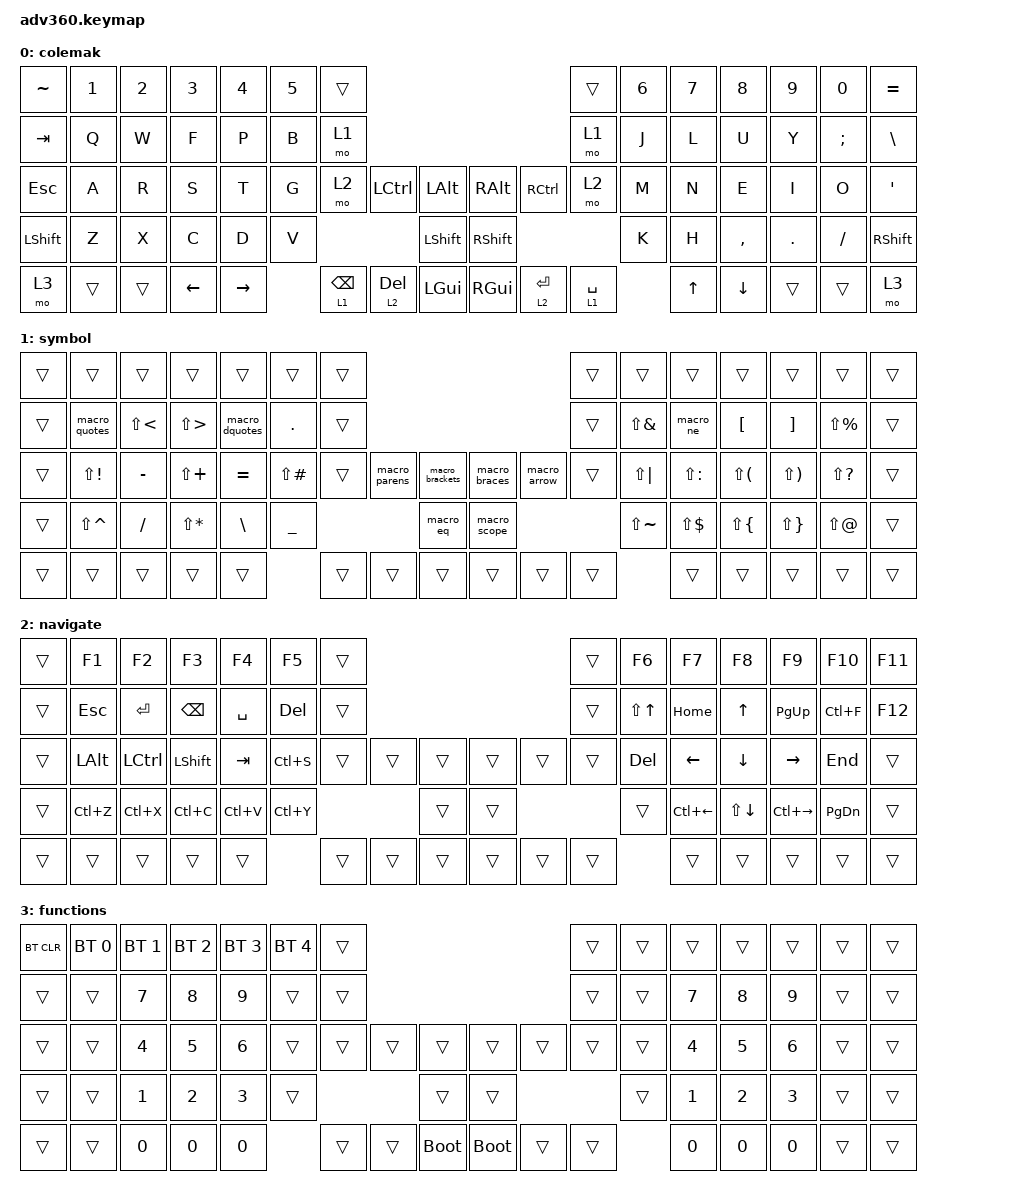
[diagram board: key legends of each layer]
#include <behaviors.dtsi>
#include <dt-bindings/zmk/bt.h>
#include <dt-bindings/zmk/keys.h>

&lt { require-prior-idle-ms = <200>; quick-tap-ms = <175>; };

/ {
    behaviors {
        #include "macros.dtsi"
      #include "version.dtsi"
      #ifndef VERSION_MACRO


        #endif

        hml: homerow_mods_left {
            compatible = "zmk,behavior-hold-tap";
            label = "HOMEROW_MODS";
            #binding-cells = <2>;
            tapping-term-ms = <300>;
            quick_tap_ms = <175>;
            flavor = "balanced";
            bindings = <&kp>, <&kp>;

            require-prior-idle-ms = <500>;
            hold-trigger-on-release;
            hold-trigger-key-positions = <7 8 9 10 11 12 13 21 22 23 24 25 26 27 37 38 39 40 41 42 43 44 45 53 54 55 56 57 58 59 68 69 70 71 72 73 74 75>;
        };

        hmr: hmr {
            compatible = "zmk,behavior-hold-tap";
            label = "HMR";
            #binding-cells = <2>;
            tapping-term-ms = <300>;
            quick_tap_ms = <175>;
            flavor = "balanced";
            bindings = <&kp>, <&kp>;

            require-prior-idle-ms = <500>;
            hold-trigger-on-release;
            hold-trigger-key-positions = <0 1 14 15 16 17 18 19 20 28 29 30 31 32 33 34 35 36 46 47 48 49 50 51 52 60 61 62 63 64 65 66 67 0 1 2 3 4 5 6>;
        };
    };

    keymap {
        compatible = "zmk,keymap";

        colemak {
            bindings = <
&kp TILDE  &kp N1  &kp N2  &kp N3    &kp N4     &kp N5  &trans                                                                           &trans       &kp N6  &kp N7        &kp N8          &kp N9   &kp N0         &kp EQUAL
&kp TAB    &kp Q   &kp W   &kp F     &kp P      &kp B   &mo 1                                                                            &mo 1        &kp J   &kp L         &kp U           &kp Y    &kp SEMICOLON  &kp BSLH
&kp ESC    &kp A   &kp R   &kp S     &kp T      &kp G   &mo 2            &kp LCTRL     &kp LEFT_ALT        &kp RIGHT_ALT    &kp RCTRL    &mo 2        &kp M   &kp N         &kp E           &kp I    &kp O          &kp SQT
&kp LSHFT  &kp Z   &kp X   &kp C     &kp D      &kp V                                  &kp LEFT_SHIFT      &kp RIGHT_SHIFT                            &kp K   &kp H         &kp COMMA       &kp DOT  &kp FSLH       &kp RSHFT
&mo 3      &trans  &trans  &kp LEFT  &kp RIGHT          &lt 1 BACKSPACE  &lt 2 DELETE  &kp LEFT_GUI        &kp RIGHT_GUI    &lt 2 ENTER  &lt 1 SPACE          &kp UP_ARROW  &kp DOWN_ARROW  &trans   &trans         &mo 3
            >;
        };

        symbol {
            bindings = <
&trans  &trans         &trans      &trans        &trans       &trans          &trans                                      &trans  &trans         &trans         &trans        &trans        &trans         &trans
&trans  &macro_quotes  &kp LS(LT)  &kp LS(GT)    &macro_dquotes  &kp DOT         &trans                                      &trans  &kp LS(AMPS)   &macro_ne       &kp LBKT         &kp RBKT      &kp LS(PRCNT)  &trans
&trans  &kp LS(EXCL)   &kp MINUS   &kp LS(PLUS)  &kp EQUAL    &kp LS(POUND)   &trans  &macro_parens   &macro_brackets  &macro_braces  &macro_arrow  &trans  &kp LS(PIPE)   &kp LS(COLON)  &kp LS(LPAR)   &kp LS(RPAR)  &kp LS(QMARK)  &trans
&trans  &kp LS(CARET)  &kp FSLH    &kp LS(STAR)  &kp BSLH     &kp UNDERSCORE                  &macro_eq   &macro_scope            &kp LS(TILDE)  &kp LS(DLLR)   &kp LS(LBRC)   &kp LS(RBRC)  &kp LS(AT)     &trans
&trans  &trans         &trans      &trans        &trans                       &trans  &trans  &trans      &trans  &trans  &trans                 &trans         &trans        &trans        &trans         &trans
            >;
        };

        navigate {
            bindings = <
&trans  &kp F1        &kp F2     &kp F3          &kp F4     &kp F5      &trans                                      &trans  &kp F6      &kp F7          &kp F8          &kp F9           &kp F10  &kp F11
&trans  &kp ESCAPE    &kp ENTER  &kp BACKSPACE   &kp SPACE  &kp DELETE  &trans                                      &trans  &kp LS(UP_ARROW)   &kp HOME        &kp UP_ARROW    &kp PG_UP        &kp LC(F)   &kp F12
&trans  &kp LEFT_ALT  &kp LCTRL  &kp LEFT_SHIFT  &kp TAB    &kp LC(S)   &trans  &trans  &trans      &trans  &trans  &trans  &kp DELETE  &kp LEFT_ARROW  &kp DOWN_ARROW  &kp RIGHT_ARROW  &kp END   &trans
&trans  &kp LC(Z)     &kp LC(X)  &kp LC(C)       &kp LC(V)  &kp LC(Y)                   &trans      &trans                  &trans      &kp LC(LEFT_ARROW)         &kp LS(DOWN_ARROW)          &kp LC(RIGHT_ARROW)    &kp PAGE_DOWN   &trans
&trans  &trans        &trans     &trans          &trans                 &trans  &trans  &trans      &trans  &trans  &trans              &trans          &trans          &trans           &trans   &trans
            >;
        };

        functions {
            bindings = <
&bt BT_CLR  &bt BT_SEL 0  &bt BT_SEL 1  &bt BT_SEL 2  &bt BT_SEL 3  &bt BT_SEL 4  &trans                                                &trans  &trans  &trans  &trans  &trans  &trans  &trans
&trans      &trans        &kp N7        &kp N8        &kp N9        &trans        &trans                                                &trans  &trans  &kp N7  &kp N8  &kp N9  &trans  &trans
&trans      &trans        &kp N4        &kp N5        &kp N6        &trans        &trans  &trans  &trans           &trans       &trans  &trans  &trans  &kp N4  &kp N5  &kp N6  &trans  &trans
&trans      &trans        &kp N1        &kp N2        &kp N3        &trans                        &trans           &trans                       &trans  &kp N1  &kp N2  &kp N3  &trans  &trans
&trans      &trans        &kp N0        &kp N0        &kp N0                      &trans  &trans  &bootloader      &bootloader  &trans  &trans          &kp N0  &kp N0  &kp N0  &trans  &trans
            >;
        };
    };
};
